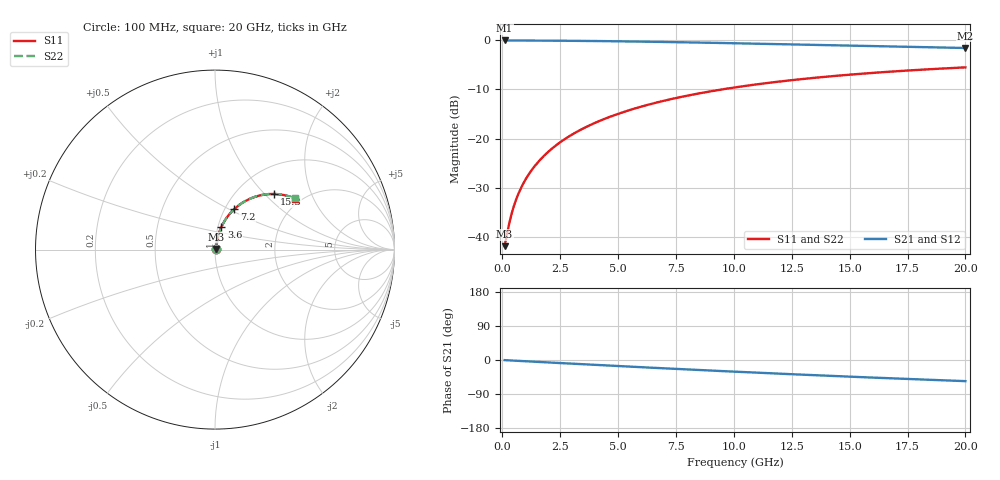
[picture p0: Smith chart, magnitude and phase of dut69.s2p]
! Touchstone file exported from HFSS 2026.1.0
!  File:  C:/ffzhzh/LocalFiles/Ansys_Project_Files/temp_train_BSMRDL_69_1782882850_42304.aedt
!  Generated:  01:15:45 PM Jul  1, 2026
!  Design:  BSMRDL
!  Project:  temp_train_BSMRDL_69_1782882850_42304
! Variables:
!  h_bsmrdl = 2.96um
!  h_ox = 20um
!  h_rdl = 5um
!  h_sub = 80um
!  h_tmrdl = 5um
!  h_tsv = 80um
!  h_via = 3um
!  l_bsmrdl = 837.01um
!  l_sub = 1237.01um
!  l_tmrdl = 200um
!  m_sub = 200um
!  pitch = 40.58um
!  r_tsv = 6um
!  s_tmrdl = 10um
!  w_bsmrdl = 14.3um
!  w_sub = 500um
!  w_tmrdl = 12um
!  x_tsv_center1 = 206um
!  x_tsv_center2 = 1057.31um
!  x_tsv_center3 = 1269.31um
!  x_tsv_center4 = 2120.62um
!  x_tsv_center5 = 2332.62um
!  x_tsv_center6 = 3183.93um
# GHz S MA R 50.000000
! Terminal data exported
! Port[1] = BSM_RDL1_1_T1
! Port[2] = BSM_RDL1_1_T2
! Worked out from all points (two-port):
!   200 points, 100 MHz to 20 GHz, reference 50 ohm
!   highest |S21| = -0.06 dB at 100 MHz (marker M1); lowest = -1.6 dB at 20 GHz (marker M2)
!   |S21| within 3 dB of the highest: start of sweep to end of sweep
!   lowest |S11| = -41.9 dB at 100 MHz (marker M3), VSWR 1.02, Z = 50.7 + j0.393 ohm
!   |S11| at or under -10 dB: start of sweep to 9.509 GHz
!   |S22| runs from -41.9 to -5.5 dB; largest |S21 - S12| = 2.8e-15
!   S11 on the Smith chart (normalised r, x): 100 MHz: 1.01, +0.01; 3.6 GHz: 1.04, +0.27; 7.2 GHz: 1.11, +0.53; 15.3 GHz: 1.46, +1.13; 20 GHz: 1.86, +1.47
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0.1  0.008054 28.8  0.993 -0.3  0.993 -0.3  0.008054 28.8
! Gamma 0 0 0 0
! Port Impedance 50 0 50 0
0.3  0.01374 56.9  0.9926 -1.0  0.9926 -1.0  0.01373 56.9
0.4  0.01712 62.8  0.9924 -1.3  0.9924 -1.3  0.01712 62.8
0.5  0.02058 66.5  0.9922 -1.7  0.9922 -1.7  0.02058 66.5
0.6  0.02409 69.1  0.9919 -2.0  0.9919 -2.0  0.02409 69.1
0.7  0.0276 71.0  0.9917 -2.3  0.9917 -2.3  0.0276 71.0
0.9  0.03467 73.4  0.9913 -3.0  0.9913 -3.0  0.03467 73.4
1.2  0.04532 75.4  0.9906 -3.9  0.9906 -3.9  0.04532 75.4
1.7  0.06314 76.6  0.9894 -5.5  0.9894 -5.5  0.06314 76.6
2.2  0.08098 76.6  0.9879 -7.1  0.9879 -7.1  0.08098 76.6
2.8  0.1023 75.8  0.9856 -9.0  0.9856 -9.0  0.1023 75.8
3.5  0.1269 74.5  0.9824 -11.2  0.9824 -11.2  0.1269 74.5
3.6  0.1303 74.2  0.9819 -11.6  0.9819 -11.6  0.1303 74.2
5  0.1782 70.7  0.9737 -15.9  0.9737 -15.9  0.1782 70.7
6.8  0.2365 65.8  0.9601 -21.4  0.9601 -21.4  0.2365 65.8
7.2  0.2489 64.7  0.9567 -22.6  0.9567 -22.6  0.2489 64.7
8.6  0.2906 60.8  0.9442 -26.7  0.9442 -26.7  0.2906 60.8
10.1  0.3322 56.7  0.9296 -31.0  0.9296 -31.0  0.3322 56.7
13.4  0.4124 48.0  0.8959 -39.9  0.8959 -39.9  0.4124 48.1
15.3  0.4517 43.3  0.8765 -44.7  0.8765 -44.7  0.4516 43.4
16.7  0.4775 40.0  0.8627 -48.1  0.8627 -48.1  0.4775 40.0
20  0.5289 32.5  0.8324 -55.8  0.8324 -55.8  0.5289 32.6
